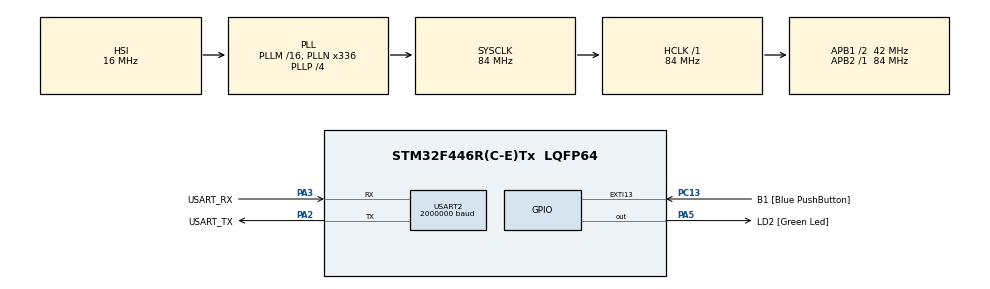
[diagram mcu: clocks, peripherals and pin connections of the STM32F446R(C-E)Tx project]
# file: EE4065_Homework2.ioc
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Mcu.Family=STM32F4
Mcu.Name=STM32F446R(C-E)Tx
Mcu.Package=LQFP64
NVIC.PriorityGroup=NVIC_PRIORITYGROUP_0
PA13.GPIO_Label=TMS
PA13.Signal=SYS_JTMS-SWDIO
PA14.GPIO_Label=TCK
PA14.Signal=SYS_JTCK-SWCLK
PA2.GPIO_Label=USART_TX
PA2.Mode=Asynchronous
PA2.Signal=USART2_TX
PA3.GPIO_Label=USART_RX
PA3.Mode=Asynchronous
PA3.Signal=USART2_RX
PA5.GPIO_Label=LD2 [Green Led]
PA5.Signal=GPIO_Output
PB3.GPIO_Label=SWO
PB3.Signal=SYS_JTDO-SWO
PC13.GPIO_Label=B1 [Blue PushButton]
PC13.GPIO_ModeDefaultEXTI=GPIO_MODE_IT_FALLING
PC13.Signal=GPXTI13
PC14-OSC32_IN.Signal=RCC_OSC32_IN
PC15-OSC32_OUT.Signal=RCC_OSC32_OUT
PH0-OSC_IN.Signal=RCC_OSC_IN
PH1-OSC_OUT.Signal=RCC_OSC_OUT
ProjectManager.HeapSize=0x200
ProjectManager.StackSize=0x400
ProjectManager.TargetToolchain=STM32CubeIDE
RCC.AHBFreq_Value=84000000
RCC.APB1CLKDivider=RCC_HCLK_DIV2
RCC.APB1Freq_Value=42000000
RCC.APB1TimFreq_Value=84000000
RCC.APB2Freq_Value=84000000
RCC.APB2TimFreq_Value=84000000
RCC.CortexFreq_Value=84000000
RCC.FLatency-AdvancedSettings=FLASH_LATENCY_2
RCC.HCLKFreq_Value=84000000
RCC.HSE_VALUE=8000000
RCC.HSI_VALUE=16000000
RCC.LSE_VALUE=32768
RCC.PLLN=336
RCC.PLLP=RCC_PLLP_DIV4
RCC.SYSCLKFreq_VALUE=84000000
RCC.SYSCLKSource=RCC_SYSCLKSOURCE_PLLCLK
RCC.USBFreq_Value=168000000
RCC.VCOOutputFreq_Value=336000000
USART2.BaudRate=2000000
USART2.VirtualMode=VM_ASYNC
board=NUCLEO-F446RE

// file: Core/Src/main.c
/* USER CODE BEGIN Header */
/**
  ******************************************************************************
  * @file           : main.c
  * @brief          : Main program body
  ******************************************************************************
  * @attention
  *
  * Copyright (c) 2025 STMicroelectronics.
  * All rights reserved.
  *
  * This software is licensed under terms that can be found in the LICENSE file
  * in the root directory of this software component.
  * If no LICENSE file comes with this software, it is provided AS-IS.
  *
  ******************************************************************************
  */
/* USER CODE END Header */
#include "main.h"

/* USER CODE BEGIN Includes */
#include "image_processing.h"
#include "lib_image.h"
#include "lib_serialimage.h"
/* USER CODE END Includes */

UART_HandleTypeDef huart2;

/* USER CODE BEGIN PV */
#define IMG_WIDTH 128
#define IMG_HEIGHT 128
#define NUM_PIXELS (IMG_WIDTH * IMG_HEIGHT) // 16384 olmalı

// Q1 için (Orijinal histogram)
uint32_t histogram_results[256]; // (256 * 4 byte) = 1,024 byte RAM

// Q2c için (Eşitlenmiş histogram)
uint32_t histogram_equalized_results[256]; // (256 * 4 byte) = 1,024 byte RAM

// TOPLAM KULLANIM: 1024 + 76800 + 1024 = 78,848 byte.
// Bu, 128KB limitimizin çok altında ve güvenlidir.
// -------------------------------------------------------------------

// Q3 Filtre Kernelleri (Bunlar Flash'ta saklanır, RAM kullanmaz)
// Q3b: Low-Pass Filtre (Averaging / Box Blur)
const float kernel_low_pass[9] = {
    1.0f/9.0f, 1.0f/9.0f, 1.0f/9.0f,
    1.0f/9.0f, 1.0f/9.0f, 1.0f/9.0f,
    1.0f/9.0f, 1.0f/9.0f, 1.0f/9.0f
};

// Q3c: High-Pass Filtre (Laplacian - Kenar Tespiti)
const float kernel_high_pass[9] = {
     0.0f, -1.0f,  0.0f,
    -1.0f,  4.0f, -1.0f,
     0.0f, -1.0f,  0.0f
};

// 1. GİRİŞ/ÇIKIŞ BUFFER'LARI (RGB565 formatında)
// Seri porttan gelen ve giden veriler bu yapıyı kullanır (2 Byte/Piksel).
volatile uint8_t pImage_RGB565[IMG_WIDTH * IMG_HEIGHT * 2];

// 2. İŞLEME BUFFER'LARI (8-bit Gri Tonlama formatında)
// Görüntü işleme bu buffer üzerinde yapılır (1 Byte/Piksel).
uint8_t processed_image[NUM_PIXELS];
uint8_t original_gray_image[NUM_PIXELS];
// Diğer histogram ve kernel tanımları burada kalır...

// SERİ İLETİŞİM YAPISI (lib_image.h'den gelmelidir)
IMAGE_HandleTypeDef img; // Tek bir yapıyı hem alma hem gönderme için kullanacağız.
/* USER CODE END PV */

void SystemClock_Config(void);
static void MX_GPIO_Init(void);
static void MX_USART2_UART_Init(void);

/* USER CODE BEGIN 0 */
// 128x128 çözünürlük, RGB565 (2 byte) formatı için buffer
volatile uint8_t pImage[128*128*2];
IMAGE_HandleTypeDef img;
/* USER CODE END 0 */

int main(void)
{

  /* MCU Configuration--------------------------------------------------------*/

  /* Reset of all peripherals, Initializes the Flash interface and the Systick. */
  HAL_Init();

  /* Configure the system clock */
  SystemClock_Config();

  /* Initialize all configured peripherals */
  MX_GPIO_Init();
  MX_USART2_UART_Init();
  /* USER CODE BEGIN 2 */
    // Görüntü Yapısını Başlat (Alış/Gönderim Buffer'ı)
    LIB_IMAGE_InitStruct(&img, (uint8_t*)pImage_RGB565, IMG_WIDTH, IMG_HEIGHT, IMAGE_FORMAT_RGB565);
  /* USER CODE END 2 */

  /* Infinite loop */
  /* USER CODE BEGIN WHILE */
    /*while (1)
    {
        // 1. PC'den görüntü gelmesini bekle (Görüntü pImage_RGB565'e yazılır)
    	if (LIB_SERIAL_IMG_Receive(&img) == SERIAL_OK)
    	{
            // 2. GİRİŞ DÖNÜŞÜMÜ: RGB565'ten 8-bit Gri Tonlamaya
            Convert_RGB565_To_Grayscale8bit((uint16_t*)pImage_RGB565,
                                              original_gray_image,
                                              NUM_PIXELS);

            // *** GÖRÜNTÜ İŞLEME BLOKU ***
            // 3. İŞLEME: Median Filtre Uygula (original_gray_image -> processed_image)
            apply_median_filtering(original_gray_image,
                                   processed_image,
                                   IMG_WIDTH,
                                   IMG_HEIGHT);

            // 4. ÇIKIŞ DÖNÜŞÜMÜ: 8-bit Gri Tonlamadan RGB565'e
            // İşlenmiş görüntüyü (processed_image) gönderim buffer'ına (pImage_RGB565) yaz.
            Convert_Grayscale8bit_To_RGB565(processed_image,
                                            (uint16_t*)pImage_RGB565,
                                            NUM_PIXELS);

            // 5. İŞLENMİŞ GÖRÜNTÜYÜ PC'ye Geri Gönder
    	    LIB_SERIAL_IMG_Transmit(&img);
    	}
    }*/

    /* USER CODE BEGIN WHILE */
    /*while (1)
    {
        if (LIB_SERIAL_IMG_Receive(&img) == SERIAL_OK)
        {
            // 1. GİRİŞ DÖNÜŞÜMÜ: RGB565 -> 8-bit Gri (16-bit'ten 1-byte'a düşüş)
            Convert_RGB565_To_Grayscale8bit((uint16_t*)pImage_RGB565,
                                              original_gray_image,
                                              NUM_PIXELS);

            // *** HİSTOGRAM EŞİTLEME BLOKU ***
            // 2. Histogramı Hesapla
            calculate_histogram(original_gray_image, NUM_PIXELS, histogram_results);

            // 3. Eşitlemeyi Uygula (original_gray_image -> processed_image)
            apply_histogram_equalization(original_gray_image,
                                         processed_image,
                                         histogram_results,
                                         NUM_PIXELS);

            // 4. ÇIKIŞ DÖNÜŞÜMÜ: 8-bit Gri -> RGB565
            Convert_Grayscale8bit_To_RGB565(processed_image,
                                            (uint16_t*)pImage_RGB565,
                                            NUM_PIXELS);

            // 5. İşlenmiş Görüntüyü PC'ye Geri Gönder
            LIB_SERIAL_IMG_Transmit(&img);
        }
    }*/

    /* USER CODE BEGIN WHILE */
    while (1)
    {
        if (LIB_SERIAL_IMG_Receive(&img) == SERIAL_OK)
        {
            // 1. GİRİŞ DÖNÜŞÜMÜ: RGB565 -> 8-bit Gri
            Convert_RGB565_To_Grayscale8bit((uint16_t*)pImage_RGB565,
                                              original_gray_image,
                                              NUM_PIXELS);

            // *** HIGH-PASS FİLTRE BLOKU ***
            // 2. 3x3 High-Pass Kernel Uygula (original_gray_image -> processed_image)
            apply_2d_convolution(original_gray_image,
                                 processed_image,
                                 IMG_WIDTH,
                                 IMG_HEIGHT,
                                 kernel_high_pass); // kernel_high_pass dizisi kullanılacak

            // 3. ÇIKIŞ DÖNÜŞÜMÜ: 8-bit Gri -> RGB565
            Convert_Grayscale8bit_To_RGB565(processed_image,
                                            (uint16_t*)pImage_RGB565,
                                            NUM_PIXELS);

            // 4. İşlenmiş Görüntüyü PC'ye Geri Gönder
            LIB_SERIAL_IMG_Transmit(&img);
        }
    }

    /* USER CODE BEGIN WHILE */
   /* while (1)
    {
        if (LIB_SERIAL_IMG_Receive(&img) == SERIAL_OK)
        {
            // 1. GİRİŞ DÖNÜŞÜMÜ: RGB565 -> 8-bit Gri
            Convert_RGB565_To_Grayscale8bit((uint16_t*)pImage_RGB565,
                                              original_gray_image,
                                              NUM_PIXELS);

            // *** LOW-PASS FİLTRE BLOKU ***
            // 2. 3x3 Low-Pass Kernel Uygula (original_gray_image -> processed_image)
            apply_2d_convolution(original_gray_image,
                                 processed_image,
                                 IMG_WIDTH,
                                 IMG_HEIGHT,
                                 kernel_low_pass); // kernel_low_pass dizisi kullanılacak

            // 3. ÇIKIŞ DÖNÜŞÜMÜ: 8-bit Gri -> RGB565
            Convert_Grayscale8bit_To_RGB565(processed_image,
                                            (uint16_t*)pImage_RGB565,
                                            NUM_PIXELS);

            // 4. İşlenmiş Görüntüyü PC'ye Geri Gönder
            LIB_SERIAL_IMG_Transmit(&img);
        }
    }*/
    /* USER CODE END WHILE */

}

void SystemClock_Config(void)
{
  RCC_OscInitTypeDef RCC_OscInitStruct = {0};
  RCC_ClkInitTypeDef RCC_ClkInitStruct = {0};

  /** Configure the main internal regulator output voltage
  */
  __HAL_RCC_PWR_CLK_ENABLE();
  __HAL_PWR_VOLTAGESCALING_CONFIG(PWR_REGULATOR_VOLTAGE_SCALE3);

  /** Initializes the RCC Oscillators according to the specified parameters
  * in the RCC_OscInitTypeDef structure.
  */
  RCC_OscInitStruct.OscillatorType = RCC_OSCILLATORTYPE_HSI;
  RCC_OscInitStruct.HSIState = RCC_HSI_ON;
  RCC_OscInitStruct.HSICalibrationValue = RCC_HSICALIBRATION_DEFAULT;
  RCC_OscInitStruct.PLL.PLLState = RCC_PLL_ON;
  RCC_OscInitStruct.PLL.PLLSource = RCC_PLLSOURCE_HSI;
  RCC_OscInitStruct.PLL.PLLM = 16;
  RCC_OscInitStruct.PLL.PLLN = 336;
  RCC_OscInitStruct.PLL.PLLP = RCC_PLLP_DIV4;
  RCC_OscInitStruct.PLL.PLLQ = 2;
  RCC_OscInitStruct.PLL.PLLR = 2;
  if (HAL_RCC_OscConfig(&RCC_OscInitStruct) != HAL_OK)
  {
    Error_Handler();
  }

  /** Initializes the CPU, AHB and APB buses clocks
  */
  RCC_ClkInitStruct.ClockType = RCC_CLOCKTYPE_HCLK|RCC_CLOCKTYPE_SYSCLK
                              |RCC_CLOCKTYPE_PCLK1|RCC_CLOCKTYPE_PCLK2;
  RCC_ClkInitStruct.SYSCLKSource = RCC_SYSCLKSOURCE_PLLCLK;
  RCC_ClkInitStruct.AHBCLKDivider = RCC_SYSCLK_DIV1;
  RCC_ClkInitStruct.APB1CLKDivider = RCC_HCLK_DIV2;
  RCC_ClkInitStruct.APB2CLKDivider = RCC_HCLK_DIV1;

  if (HAL_RCC_ClockConfig(&RCC_ClkInitStruct, FLASH_LATENCY_2) != HAL_OK)
  {
    Error_Handler();
  }
}

static void MX_USART2_UART_Init(void)
{

  huart2.Instance = USART2;
  huart2.Init.BaudRate = 2000000;
  huart2.Init.WordLength = UART_WORDLENGTH_8B;
  huart2.Init.StopBits = UART_STOPBITS_1;
  huart2.Init.Parity = UART_PARITY_NONE;
  huart2.Init.Mode = UART_MODE_TX_RX;
  huart2.Init.HwFlowCtl = UART_HWCONTROL_NONE;
  huart2.Init.OverSampling = UART_OVERSAMPLING_16;
  if (HAL_UART_Init(&huart2) != HAL_OK)
  {
    Error_Handler();
  }

}

static void MX_GPIO_Init(void)
{
  GPIO_InitTypeDef GPIO_InitStruct = {0};

  /* GPIO Ports Clock Enable */
  __HAL_RCC_GPIOC_CLK_ENABLE();
  __HAL_RCC_GPIOH_CLK_ENABLE();
  __HAL_RCC_GPIOA_CLK_ENABLE();
  __HAL_RCC_GPIOB_CLK_ENABLE();

  /*Configure GPIO pin Output Level */
  HAL_GPIO_WritePin(LD2_GPIO_Port, LD2_Pin, GPIO_PIN_RESET);

  /*Configure GPIO pin : B1_Pin */
  GPIO_InitStruct.Pin = B1_Pin;
  GPIO_InitStruct.Mode = GPIO_MODE_IT_FALLING;
  GPIO_InitStruct.Pull = GPIO_NOPULL;
  HAL_GPIO_Init(B1_GPIO_Port, &GPIO_InitStruct);

  /*Configure GPIO pin : LD2_Pin */
  GPIO_InitStruct.Pin = LD2_Pin;
  GPIO_InitStruct.Mode = GPIO_MODE_OUTPUT_PP;
  GPIO_InitStruct.Pull = GPIO_NOPULL;
  GPIO_InitStruct.Speed = GPIO_SPEED_FREQ_LOW;
  HAL_GPIO_Init(LD2_GPIO_Port, &GPIO_InitStruct);

}

/* USER CODE BEGIN 4 */

/**
 * @brief  RGB565'ten 8-bit Gri tonlamaya çevirir. (2 Byte -> 1 Byte)
 */
void Convert_RGB565_To_Grayscale8bit(const uint16_t* pIn16bit, uint8_t* pOut8bit, uint32_t num_pixels)
{
    // Ağırlıklı Ortalama (ITU-R BT.601) kullanılır, 8-bit R/G/B varsayılarak.
    for (uint32_t i = 0; i < num_pixels; i++)
    {
        uint16_t pixel = pIn16bit[i];

        // 16-bit'ten 8-bit R, G, B bileşenlerini çıkar
        uint8_t R8 = ((pixel >> 11) & 0x1F) << 3; // R5 -> R8
        uint8_t G8 = ((pixel >> 5) & 0x3F) << 2;  // G6 -> G8
        uint8_t B8 = (pixel & 0x1F) << 3;         // B5 -> B8

        // Gri Tonlama Hesaplama (77*R + 150*G + 29*B) >> 8
        uint32_t gray8bit = (77 * R8 + 150 * G8 + 29 * B8) >> 8;

        pOut8bit[i] = (uint8_t)gray8bit;
    }
}

/**
 * @brief  8-bit Gri tonlamadan RGB565'e çevirir. (1 Byte -> 2 Byte)
 * (Seri porttan göndermek için gereklidir.)
 */
void Convert_Grayscale8bit_To_RGB565(const uint8_t* pIn8bit, uint16_t* pOut16bit, uint32_t num_pixels)
{
    for (uint32_t i = 0; i < num_pixels; i++)
    {
        uint8_t gray8bit = pIn8bit[i];

        // 8-bit Gri değeri R, G, B bileşenleri olarak kabul edilir.
        uint16_t R5 = gray8bit >> 3; // 8 bit -> 5 bit R
        uint16_t G6 = gray8bit >> 2; // 8 bit -> 6 bit G
        uint16_t B5 = gray8bit >> 3; // 8 bit -> 5 bit B

        // Yeni RGB565 Gri Pikseli Oluştur
        pOut16bit[i] = (R5 << 11) | (G6 << 5) | B5;
    }
}

// ... (Diğer fonksiyonlar: image_processing.c'den gelenler) ...

/* USER CODE END 4 */

void Error_Handler(void)
{
  __disable_irq();
  while (1)
  {
  }
}
